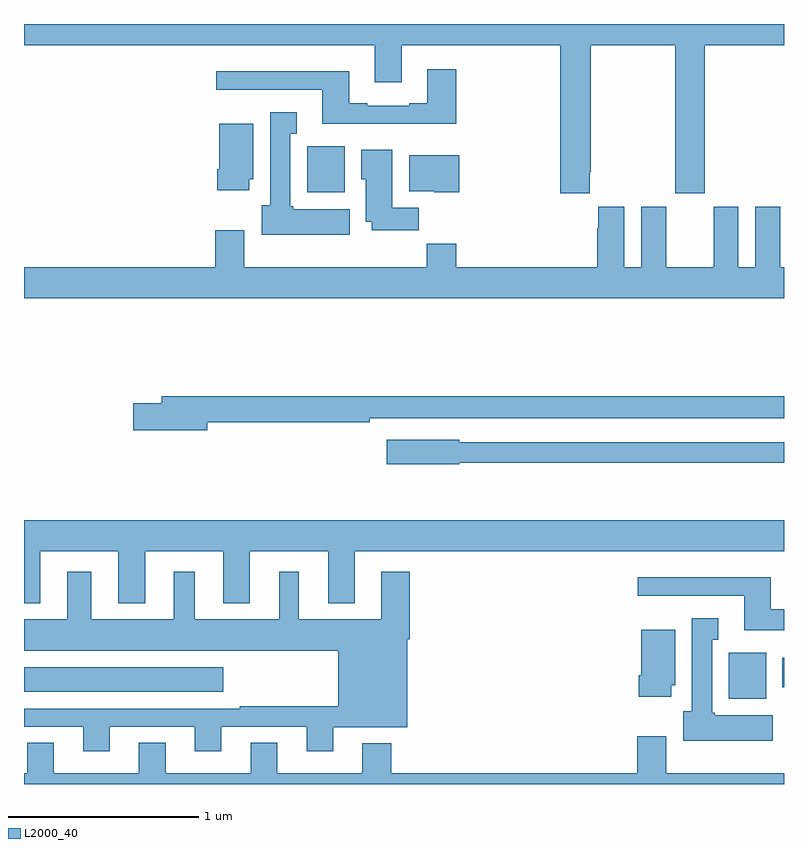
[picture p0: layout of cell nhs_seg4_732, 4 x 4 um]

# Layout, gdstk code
import gdstk
lib = gdstk.Library(unit=1e-6, precision=1e-09)
def R(c, l, rs):  # rectangles x0, y0, x1, y1
    for r in rs: c.add(gdstk.rectangle(r[:2], r[2:], *l))
def P(c, l, *ps):  # polygons
    for p in ps: c.add(gdstk.Polygon(p, *l))
L2000_40 = (2000, 40)

nhs_seg4_732 = lib.new_cell('nhs_seg4_732')
R(nhs_seg4_732, L2000_40, [(150.71,825.35,150.907,825.592), (147,825.386,148.048,825.514), (150.992,825.409,151,825.565), (148.49,828.014,148.687,828.256)])
P(nhs_seg4_732, L2000_40, [(149.977,828.121),(149.982,828.121),(149.982,828.788),(150.427,828.788),(150.427,828.009),(150.582,828.009),(150.582,828.788),(151,828.788),(151,828.9),(147,828.9),(147,828.788),(148.847,828.788),(148.847,828.594),(148.987,828.594),(148.987,828.788),(149.822,828.788),(149.822,828.009),(149.977,828.009)],
  [(149.276,828.661),(149.123,828.661),(149.123,828.484),(149.027,828.484),(149.027,828.471),(148.807,828.471),(148.807,828.484),(148.711,828.484),(148.711,828.652),(148.011,828.652),(148.011,828.555),(148.571,828.555),(148.571,828.374),(149.276,828.374)],
  [(148.714,827.926),(148.416,827.926),(148.416,827.94),(148.402,827.94),(148.402,828.323),(148.435,828.323),(148.435,828.436),(148.295,828.436),(148.295,827.946),(148.25,827.946),(148.25,827.792),(148.714,827.792)],
  [(148.186,828.084),(148.207,828.084),(148.207,828.376),(148.028,828.376),(148.028,828.136),(148.016,828.136),(148.016,828.024),(148.186,828.024)],
  [(149.078,827.932),(148.939,827.932),(148.939,828.238),(148.775,828.238),(148.775,828.084),(148.799,828.084),(148.799,827.858),(148.829,827.858),(148.829,827.814),(149.078,827.814)],
  [(149.291,828.208),(149.027,828.208),(149.027,828.02),(149.16,828.02),(149.16,828.014),(149.291,828.014)],
  [(151,827.62),(150.979,827.62),(150.979,827.938),(150.848,827.938),(150.848,827.62),(150.76,827.62),(150.76,827.938),(150.629,827.938),(150.629,827.62),(150.379,827.62),(150.379,827.938),(150.248,827.938),(150.248,827.62),(150.16,827.62),(150.16,827.938),(150.023,827.938),(150.023,827.825),(150.017,827.825),(150.017,827.62),(149.276,827.62),(149.276,827.744),(149.119,827.744),(149.119,827.62),(148.159,827.62),(148.159,827.815),(148.007,827.815),(148.007,827.62),(147,827.62),(147,827.456),(151,827.456)],
  [(147.964,826.804),(148.82,826.804),(148.82,826.824),(151,826.824),(151,826.94),(147.725,826.94),(147.725,826.904),(147.576,826.904),(147.576,826.762),(147.964,826.762)],
  [(149.292,826.59),(151,826.59),(151,826.698),(149.292,826.698),(149.292,826.711),(148.908,826.711),(148.908,826.582),(149.292,826.582)],
  [(147.085,826.124),(147.497,826.124),(147.497,825.851),(147.637,825.851),(147.637,826.124),(148.049,826.124),(148.049,825.851),(148.189,825.851),(148.189,826.124),(148.601,826.124),(148.601,825.851),(148.741,825.851),(148.741,826.124),(151,826.124),(151,826.288),(147,826.288),(147,825.851),(147.085,825.851)],
  [(147.451,825.201),(147.899,825.201),(147.899,825.072),(148.039,825.072),(148.039,825.201),(148.487,825.201),(148.487,825.072),(148.627,825.072),(148.627,825.2),(149.017,825.2),(149.017,825.662),(149.03,825.662),(149.03,826.018),(148.88,826.018),(148.88,825.766),(148.447,825.766),(148.447,826.018),(148.343,826.018),(148.343,825.766),(147.898,825.766),(147.898,826.018),(147.788,826.018),(147.788,825.766),(147.355,825.766),(147.355,826.018),(147.227,826.018),(147.227,825.766),(147,825.766),(147,825.602),(148.655,825.602),(148.655,825.31),(148.135,825.31),(148.135,825.297),(147,825.297),(147,825.201),(147.311,825.201),(147.311,825.072),(147.451,825.072)],
  [(151,825.82),(150.931,825.82),(150.931,825.988),(150.231,825.988),(150.231,825.891),(150.791,825.891),(150.791,825.71),(151,825.71)],
  [(150.94,825.262),(150.636,825.262),(150.636,825.276),(150.622,825.276),(150.622,825.659),(150.655,825.659),(150.655,825.772),(150.515,825.772),(150.515,825.282),(150.47,825.282),(150.47,825.128),(150.94,825.128)],
  [(150.406,825.42),(150.427,825.42),(150.427,825.712),(150.248,825.712),(150.248,825.472),(150.236,825.472),(150.236,825.36),(150.406,825.36)],
  [(151,824.956),(150.379,824.956),(150.379,825.151),(150.227,825.151),(150.227,824.956),(148.934,824.956),(148.934,825.115),(148.781,825.115),(148.781,824.956),(148.333,824.956),(148.333,825.116),(148.193,825.116),(148.193,824.956),(147.745,824.956),(147.745,825.116),(147.605,825.116),(147.605,824.956),(147.157,824.956),(147.157,825.116),(147.017,825.116),(147.017,824.956),(147,824.956),(147,824.9),(151,824.9)])

lib.write_gds('nhs_seg4_732.gds')
